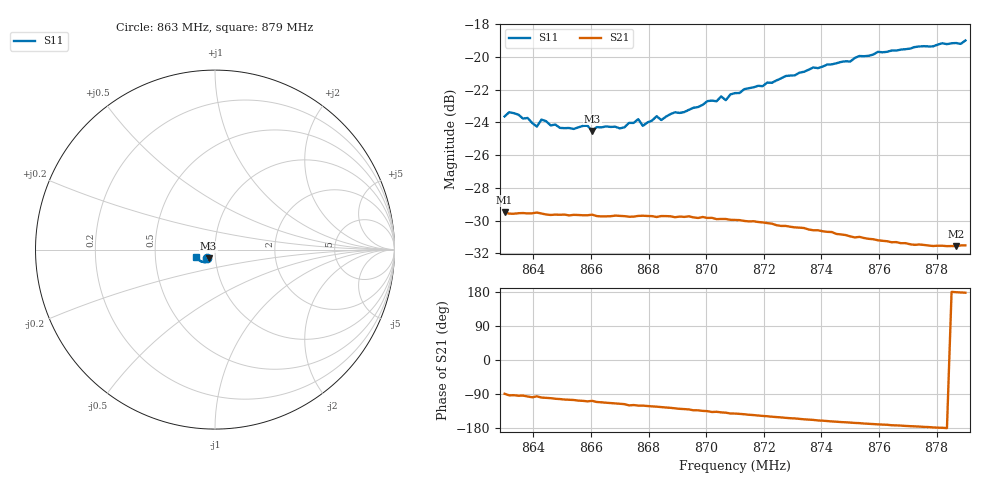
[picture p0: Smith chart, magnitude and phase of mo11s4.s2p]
# HZ S RI R 50
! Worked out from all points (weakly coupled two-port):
!   101 points, 863 MHz to 879 MHz, reference 50 ohm
!   highest |S21| = -29.49 dB at 863 MHz (marker M1); lowest = -31.6 dB at 878.68 MHz (marker M2)
!   lowest |S11| = -24.5 dB at 866.04 MHz (marker M3), VSWR 1.13, Z = 46.4 - j4.43 ohm
!   |S11| at or under -10 dB: start of sweep to end of sweep
!   S12 and S22 are empty: the file has one direction only
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8.63e8  -0.0454 -0.0477  0.000526 -0.0335  0 0  0 0
8.6332e8  -0.0491 -0.0462  -0.00165 -0.0332  0 0  0 0
8.638e8  -0.0465 -0.0457  -0.00366 -0.0331  0 0  0 0
8.6412e8  -0.0406 -0.0459  -0.00344 -0.0333  0 0  0 0
8.6428e8  -0.0461 -0.045  -0.00529 -0.0328  0 0  0 0
8.6492e8  -0.0399 -0.0458  -0.00747 -0.0321  0 0  0 0
8.6572e8  -0.038 -0.0485  -0.01 -0.0313  0 0  0 0
8.6604e8  -0.0357 -0.0476  -0.0101 -0.0314  0 0  0 0
8.662e8  -0.0368 -0.0487  -0.0116 -0.0305  0 0  0 0
8.6716e8  -0.0346 -0.0502  -0.0146 -0.0292  0 0  0 0
8.6764e8  -0.0366 -0.0532  -0.0165 -0.0282  0 0  0 0
8.678e8  -0.0341 -0.0513  -0.0165 -0.0283  0 0  0 0
8.6828e8  -0.0345 -0.0562  -0.0178 -0.0272  0 0  0 0
8.6844e8  -0.0335 -0.0548  -0.0184 -0.027  0 0  0 0
8.7036e8  -0.0392 -0.0619  -0.0233 -0.0219  0 0  0 0
8.7052e8  -0.0402 -0.0643  -0.0239 -0.0213  0 0  0 0
8.7068e8  -0.0387 -0.0629  -0.0241 -0.021  0 0  0 0
8.71e8  -0.0419 -0.0653  -0.0248 -0.0198  0 0  0 0
8.7372e8  -0.0601 -0.0709  -0.0274 -0.011  0 0  0 0
8.7644e8  -0.085 -0.061  -0.0269 -0.0037  0 0  0 0
8.7868e8  -0.101 -0.0444  -0.0264 0.000522  0 0  0 0
8.79e8  -0.1042 -0.0419  -0.0266 0.00113  0 0  0 0
